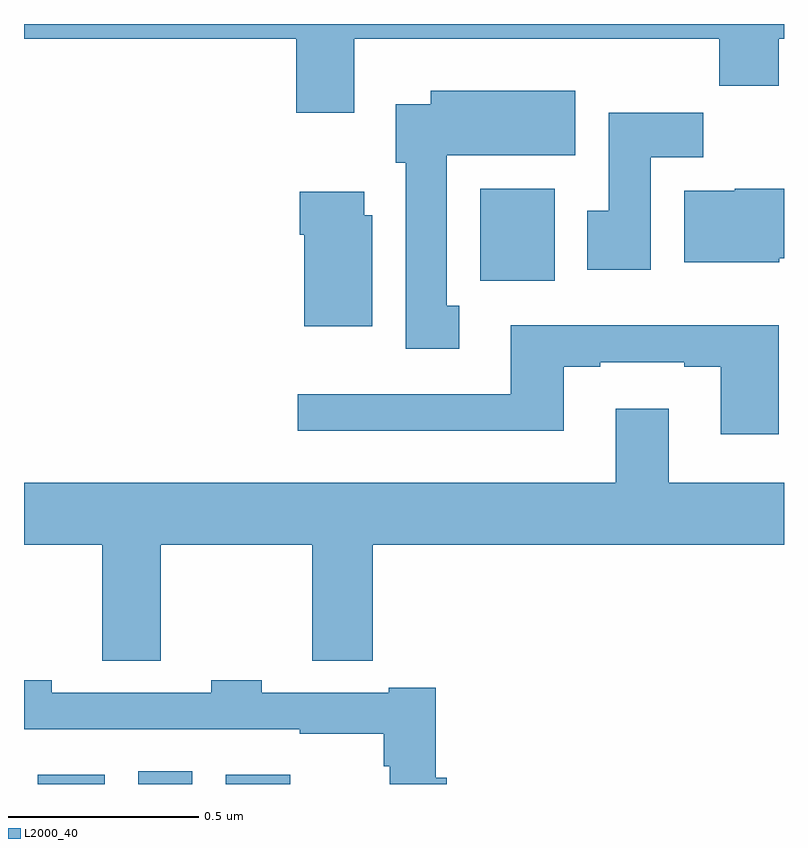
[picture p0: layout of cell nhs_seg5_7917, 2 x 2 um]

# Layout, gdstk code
import gdstk
lib = gdstk.Library(unit=1e-6, precision=1e-09)
def R(c, l, rs):  # rectangles x0, y0, x1, y1
    for r in rs: c.add(gdstk.rectangle(r[:2], r[2:], *l))
def P(c, l, *ps):  # polygons
    for p in ps: c.add(gdstk.Polygon(p, *l))
L2000_40 = (2000, 40)

nhs_seg5_7917 = lib.new_cell('nhs_seg5_7917')
R(nhs_seg5_7917, L2000_40, [(215.036,854.799,215.212,854.824), (215.3,854.799,215.443,854.833), (215.531,854.799,215.701,854.824), (216.2,856.124,216.397,856.366)])
P(nhs_seg5_7917, L2000_40, [(215.869,856.76),(216.829,856.76),(216.829,856.636),(216.986,856.636),(216.986,856.76),(217,856.76),(217,856.799),(215,856.799),(215,856.76),(215.717,856.76),(215.717,856.566),(215.869,856.566)],
  [(216.145,856.058),(216.112,856.058),(216.112,856.454),(216.451,856.454),(216.451,856.624),(216.071,856.624),(216.071,856.588),(215.978,856.588),(215.978,856.434),(216.005,856.434),(216.005,855.945),(216.145,855.945)],
  [(216.649,856.448),(216.788,856.448),(216.788,856.566),(216.539,856.566),(216.539,856.308),(216.482,856.308),(216.482,856.152),(216.649,856.152)],
  [(216.988,856.183),(217,856.183),(217,856.366),(216.87,856.366),(216.87,856.36),(216.737,856.36),(216.737,856.172),(216.988,856.172)],
  [(215.917,856.296),(215.896,856.296),(215.896,856.357),(215.726,856.357),(215.726,856.244),(215.738,856.244),(215.738,856.004),(215.917,856.004)],
  [(216.986,856.006),(216.281,856.006),(216.281,855.825),(215.721,855.825),(215.721,855.728),(216.421,855.728),(216.421,855.897),(216.517,855.897),(216.517,855.909),(216.737,855.909),(216.737,855.897),(216.833,855.897),(216.833,855.72),(216.986,855.72)],
  [(215.36,855.428),(215.758,855.428),(215.758,855.124),(215.918,855.124),(215.918,855.428),(217,855.428),(217,855.592),(216.697,855.592),(216.697,855.787),(216.557,855.787),(216.557,855.592),(215,855.592),(215,855.428),(215.206,855.428),(215.206,855.124),(215.36,855.124)],
  [(216.113,854.815),(216.083,854.815),(216.083,855.052),(215.96,855.052),(215.96,855.039),(215.625,855.039),(215.625,855.072),(215.493,855.072),(215.493,855.039),(215.073,855.039),(215.073,855.072),(215,855.072),(215,854.943),(215.725,854.943),(215.725,854.931),(215.947,854.931),(215.947,854.846),(215.962,854.846),(215.962,854.799),(216.113,854.799)])

lib.write_gds('nhs_seg5_7917.gds')
